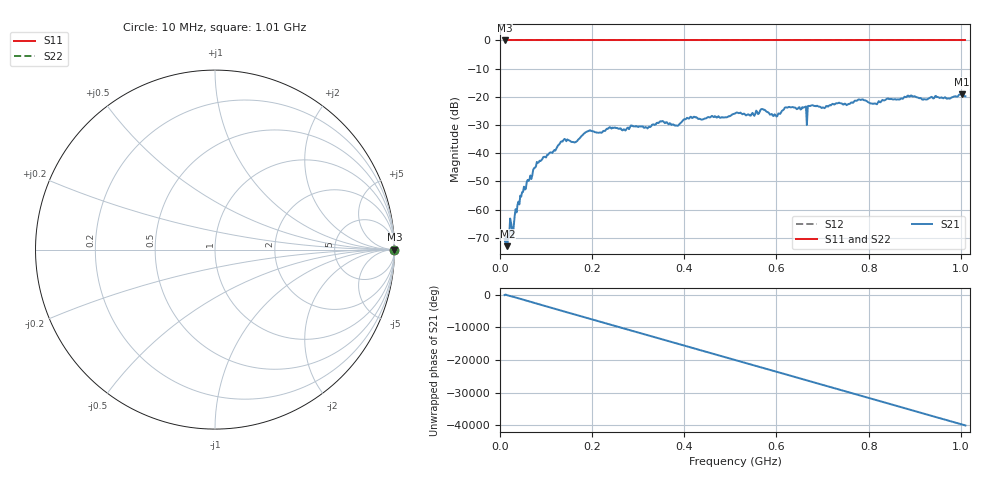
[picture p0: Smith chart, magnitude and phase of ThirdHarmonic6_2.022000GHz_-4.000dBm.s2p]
! 8/17/2025 12:16:04 AM
! C:\ANRITSUVNA\TEMP\TEMP.S2P
! CHANNEL.1
! TR.MEASUREMENT
! RAW.DATA
! RF.CORRECTION.OFF
! AVERAGING.OFF
! IF.BANDWIDTH: 5KHZ
! SWEEPTYPE:  FREQ.SWEEP(Linear)
! Reference Plane Port Info
! PORT:  PORT1  PORT2
! DISTANCE:  0  m  0  m
! TIME:  0  s  0  s
! PHASE.OFFSET:  0  deg.  0  deg.
! LOSS:  0  dB  0  dB
! REF.LOSS:  0  dB  0  dB
! REF.FREQ:  0  Hz  0  Hz
! Power Info
! POWER:  -20  dBm  -20  dBm
! EFF.POWER:  -20  dBm  -20  dBm
! SOURCE.ATTEN:  0  dB  0  dB
! TEST.ATTEN:  0  dB  0  dB
# GHZ S RI R 50.0
! FREQ.GHZ  S11RE  S11IM  S21RE  S21IM  S12RE  S12IM  S22RE  S22IM
!; PortSelection: Port_12
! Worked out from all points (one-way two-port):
!   501 points, 10 MHz to 1.01 GHz, reference 50 ohm
!   highest |S21| = -19.11 dB at 1.002 GHz (marker M1); lowest = -73.0 dB at 16 MHz (marker M2)
!   lowest |S11| = 0.0 dB at 10 MHz (marker M3)
!   |S11| at or under -10 dB: nowhere
!   |S22| runs from 0.0 to 0.0 dB; largest |S21 - S12| = 1.1
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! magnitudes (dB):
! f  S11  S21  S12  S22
! 10 MHz  0.0  -70.4  0.0  0.0
! 16 MHz  0.0  -73.0  0.0  0.0
! 22 MHz  0.0  -63.2  0.0  0.0
! 30 MHz  0.0  -65.5  0.0  0.0
! 36 MHz  0.0  -61.0  0.0  0.0
! 48 MHz  0.0  -53.8  0.0  0.0
! 78 MHz  0.0  -44.7  0.0  0.0
! 136 MHz  0.0  -35.9  0.0  0.0
! 162 MHz  0.0  -36.2  0.0  0.0
! 178 MHz  0.0  -33.8  0.0  0.0
! 344 MHz  0.0  -29.3  0.0  0.0
! 384 MHz  0.0  -30.3  0.0  0.0
! 410 MHz  0.0  -27.7  0.0  0.0
! 510 MHz  0.0  -25.9  0.0  0.0
! 570 MHz  0.0  -24.4  0.0  0.0
! 598 MHz  0.0  -26.5  0.0  0.0
! 622 MHz  0.0  -23.8  0.0  0.0
! 662 MHz  0.0  -23.6  0.0  0.0
! 678 MHz  0.0  -23.0  0.0  0.0
! 844 MHz  0.0  -20.8  0.0  0.0
! 1.002 GHz  0.0  -19.1  0.0  0.0
! 1.01 GHz  0.0  -19.8  0.0  0.0
